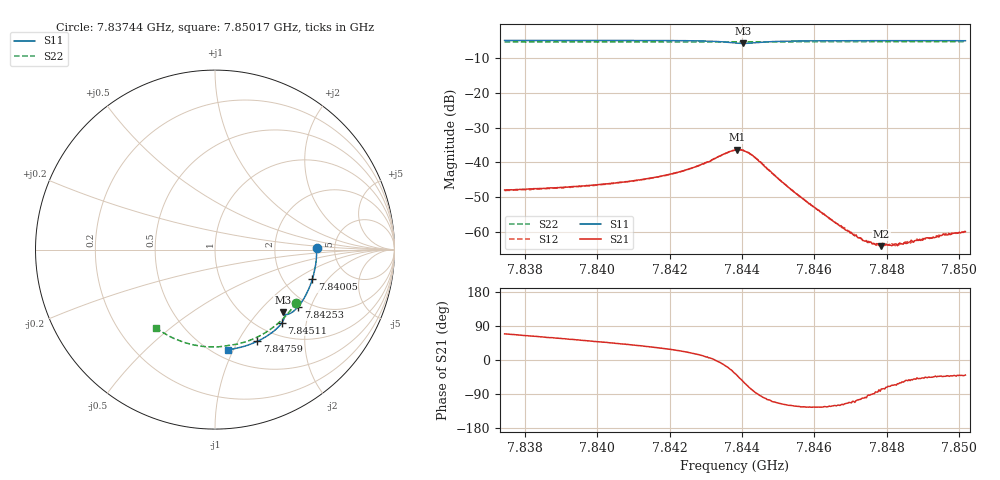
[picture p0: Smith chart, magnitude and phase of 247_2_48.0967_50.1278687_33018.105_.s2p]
#  HZ  S  RI  R  50.00
! Rohde & Schwarz Vector Network Analyzer
! Rohde-Schwarz,ZNB20-2Port,1311601062101988,3.16
! Created: UTC 12/23/2023, 3:59:23 AM
! freq[Hz]  re:S11  im:S11  re:S21  im:S21  re:S12  im:S12  re:S22  im:S22
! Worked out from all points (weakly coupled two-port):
!   401 points, 7.83744 GHz to 7.85017 GHz, reference 50 ohm
!   highest |S21| = -36.30 dB at 7.84387 GHz (marker M1); lowest = -64.1 dB at 7.84785 GHz (marker M2)
!   lowest |S11| = -5.8 dB at 7.84403 GHz (marker M3), VSWR 3.12, Z = 72 - j68.6 ohm
!   |S11| at or under -10 dB: nowhere
!   |S22| runs from -5.4 to -5.3 dB; largest |S21 - S12| = 0.00041
!   S11 on the Smith chart (normalised r, x): 7.83744 GHz: 3.61, +0.07; 7.84005 GHz: 2.87, -1.39; 7.84253 GHz: 1.76, -1.63; 7.84511 GHz: 1.24, -1.46; 7.84759 GHz: 0.81, -1.21; 7.85017 GHz: 0.58, -0.95
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7.837436e9  0.5664 0.00697  0.00144 0.00374  0.00143 0.00366  0.4515 -0.2958
7.839569e9  0.5509 -0.134  0.00281 0.00359  0.00277 0.00356  0.3538 -0.4088
7.840047e9  0.5423 -0.165  0.00321 0.00356  0.00313 0.00355  0.328 -0.4298
7.841703e9  0.4973 -0.2691  0.00528 0.00329  0.00529 0.0033  0.2289 -0.4905
7.842531e9  0.463 -0.3185  0.00755 0.0027  0.00749 0.00273  0.1748 -0.5123
7.843327e9  0.414 -0.3577  0.0119 -0.000793  0.0119 -0.000764  0.1208 -0.5269
7.843805e9  0.38 -0.3576  0.0122 -0.00877  0.0123 -0.00864  0.0889 -0.5317
7.843868e9  0.3777 -0.3553  0.0115 -0.0101  0.0115 -0.00973  0.0848 -0.5323
7.844028e9  0.3771 -0.35  0.00816 -0.0124  0.00828 -0.0125  0.0749 -0.5336
7.844219e9  0.3823 -0.3505  0.00362 -0.0128  0.00391 -0.0127  0.0627 -0.5361
7.844378e9  0.3867 -0.3574  0.000658 -0.0115  0.00082 -0.0115  0.0523 -0.5379
7.84511e9  0.373 -0.4068  -0.00229 -0.00466  -0.00227 -0.00468  0.00104 -0.5426
7.845938e9  0.3318 -0.4507  -0.00135 -0.00195  -0.00133 -0.00197  -0.0574 -0.5405
7.846671e9  0.2907 -0.4809  -0.00061 -0.00111  -0.000618 -0.00108  -0.1084 -0.5333
7.847053e9  0.2683 -0.4943  -0.000306 -0.000878  -0.00034 -0.000869  -0.1348 -0.5275
7.847403e9  0.2472 -0.5055  -0.000107 -0.000726  -0.000108 -0.000763  -0.1584 -0.5211
7.847594e9  0.2354 -0.5112  -5.95e-06 -0.000672  -2.41e-06 -0.000676  -0.1713 -0.517
7.847849e9  0.2198 -0.5182  0.000148 -0.000605  0.000157 -0.000646  -0.1882 -0.5113
7.848072e9  0.2059 -0.5239  0.000224 -0.000602  0.000215 -0.000628  -0.203 -0.5058
7.848263e9  0.1941 -0.5284  0.000269 -0.000614  0.000298 -0.000581  -0.2153 -0.5008
7.849632e9  0.1058 -0.5527  0.000667 -0.00062  0.000703 -0.000624  -0.3 -0.456
7.850174e9  0.0704 -0.558  0.000776 -0.000645  0.000773 -0.00067  -0.3311 -0.4343
